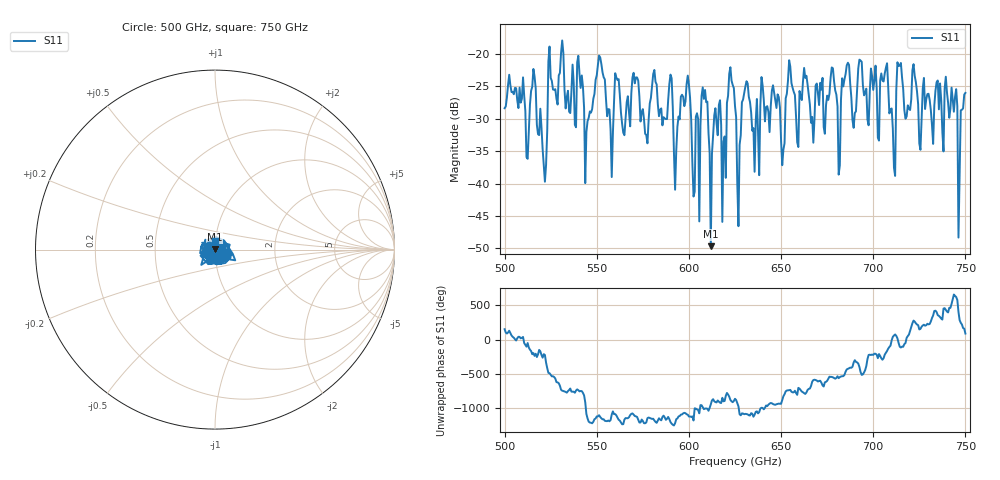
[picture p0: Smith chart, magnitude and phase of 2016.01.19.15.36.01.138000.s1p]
!Created with skrf (http://scikit-rf.org).
# GHz S RI R 50.0
!freq ReS11 ImS11
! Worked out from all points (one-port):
!   401 points, 500 GHz to 750 GHz, reference 50 ohm
!   lowest |S11| = -49.6 dB at 611.9 GHz (marker M1), VSWR 1.01, Z = 49.8 + j0.242 ohm
!   |S11| at or under -10 dB: start of sweep to end of sweep
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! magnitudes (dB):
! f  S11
! 500 GHz  -28.3
! 512.5 GHz  -36.2
! 515.6 GHz  -22.3
! 521.9 GHz  -39.7
! 525 GHz  -23.7
! 531.2 GHz  -17.9
! 544.4 GHz  -32.0
! 551.2 GHz  -20.2
! 557.5 GHz  -31.7
! 562.5 GHz  -26.3
! 590 GHz  -23.2
! 593.8 GHz  -31.2
! 599.4 GHz  -23.3
! 604.4 GHz  -29.1
! 608.1 GHz  -26.9
! 611.9 GHz  -49.6
! 615.6 GHz  -32.5
! 619.4 GHz  -32.7
! 622.5 GHz  -22.0
! 625 GHz  -28.0
! 626.9 GHz  -46.6
! 650.6 GHz  -37.1
! 656.2 GHz  -25.2
! 687.5 GHz  -24.6
! 718.8 GHz  -27.9
! 743.8 GHz  -28.9
! 747.5 GHz  -28.7
! 750 GHz  -26.0
